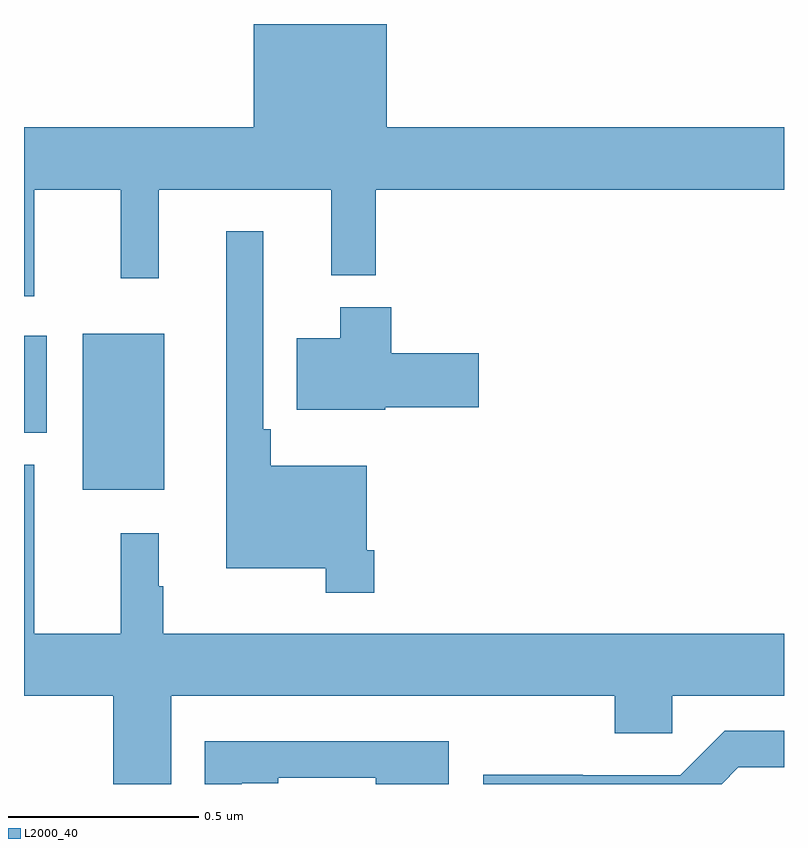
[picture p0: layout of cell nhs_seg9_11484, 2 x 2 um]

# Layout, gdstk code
import gdstk
lib = gdstk.Library(unit=1e-6, precision=1e-09)
def R(c, l, rs):  # rectangles x0, y0, x1, y1
    for r in rs: c.add(gdstk.rectangle(r[:2], r[2:], *l))
def P(c, l, *ps):  # polygons
    for p in ps: c.add(gdstk.Polygon(p, *l))
L2000_40 = (2000, 40)

nhs_seg9_11484 = lib.new_cell('nhs_seg9_11484')
R(nhs_seg9_11484, L2000_40, [(256.154,1218.275,256.369,1218.685), (256,1218.425,256.06,1218.679)])
P(nhs_seg9_11484, L2000_40, [(256.027,1219.064),(256.255,1219.064),(256.255,1218.831),(256.355,1218.831),(256.355,1219.064),(256.808,1219.064),(256.808,1218.839),(256.925,1218.839),(256.925,1219.064),(258,1219.064),(258,1219.228),(256.954,1219.228),(256.954,1219.5),(256.604,1219.5),(256.604,1219.228),(256,1219.228),(256,1218.783),(256.027,1218.783)],
  [(256.922,1218.115),(256.902,1218.115),(256.902,1218.337),(256.649,1218.337),(256.649,1218.433),(256.629,1218.433),(256.629,1218.955),(256.532,1218.955),(256.532,1218.068),(256.794,1218.068),(256.794,1218.003),(256.922,1218.003)],
  [(256.95,1218.491),(257.197,1218.491),(257.197,1218.633),(256.967,1218.633),(256.967,1218.754),(256.832,1218.754),(256.832,1218.673),(256.718,1218.673),(256.718,1218.485),(256.95,1218.485)],
  [(256.387,1217.732),(257.555,1217.732),(257.555,1217.634),(257.706,1217.634),(257.706,1217.732),(258,1217.732),(258,1217.896),(256.366,1217.896),(256.366,1218.02),(256.354,1218.02),(256.354,1218.16),(256.255,1218.16),(256.255,1217.896),(256.027,1217.896),(256.027,1218.34),(256,1218.34),(256,1217.732),(256.235,1217.732),(256.235,1217.5),(256.387,1217.5)],
  [(257.88,1217.544),(258,1217.544),(258,1217.64),(257.844,1217.64),(257.727,1217.523),(257.471,1217.523),(257.471,1217.525),(257.208,1217.525),(257.208,1217.5),(257.836,1217.5)],
  [(256.573,1217.502),(256.669,1217.502),(256.669,1217.517),(256.925,1217.517),(256.925,1217.5),(257.118,1217.5),(257.118,1217.613),(256.476,1217.613),(256.476,1217.5),(256.573,1217.5)])

lib.write_gds('nhs_seg9_11484.gds')
